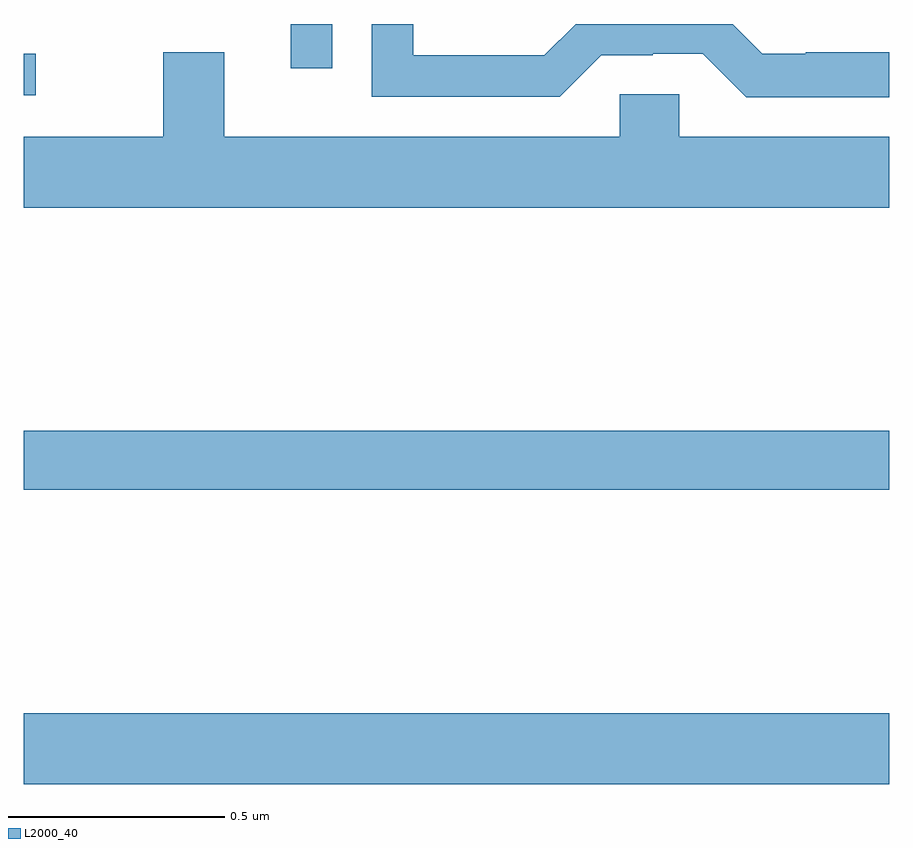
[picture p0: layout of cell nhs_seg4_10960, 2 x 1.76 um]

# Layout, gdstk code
import gdstk
lib = gdstk.Library(unit=1e-6, precision=1e-09)
def R(c, l, rs):  # rectangles x0, y0, x1, y1
    for r in rs: c.add(gdstk.rectangle(r[:2], r[2:], *l))
def P(c, l, *ps):  # polygons
    for p in ps: c.add(gdstk.Polygon(p, *l))
L2000_40 = (2000, 40)

nhs_seg4_10960 = lib.new_cell('nhs_seg4_10960')
R(nhs_seg4_10960, L2000_40, [(246,806.144,248,806.308), (246,806.824,248,806.96), (246,807.735,246.028,807.831), (246.617,807.798,246.713,807.9)])
P(nhs_seg4_10960, L2000_40, [(248,807.835),(247.807,807.835),(247.807,807.831),(247.707,807.831),(247.638,807.9),(247.275,807.9),(247.203,807.828),(246.9,807.828),(246.9,807.9),(246.804,807.9),(246.804,807.732),(247.239,807.732),(247.335,807.828),(247.454,807.828),(247.454,807.831),(247.569,807.831),(247.669,807.731),(248,807.731)],
  [(248,807.64),(247.515,807.64),(247.515,807.738),(247.377,807.738),(247.377,807.64),(246.463,807.64),(246.463,807.835),(246.323,807.835),(246.323,807.64),(246,807.64),(246,807.476),(248,807.476)])

lib.write_gds('nhs_seg4_10960.gds')
